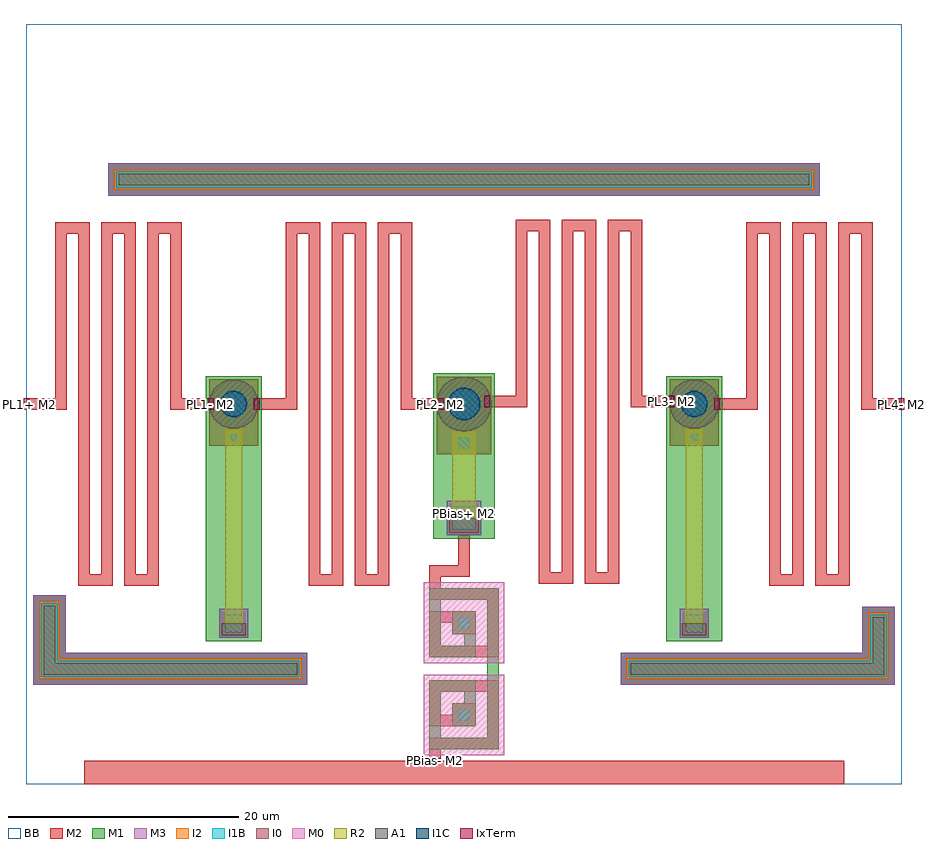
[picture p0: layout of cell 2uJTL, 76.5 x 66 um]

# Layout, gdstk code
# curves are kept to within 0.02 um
from math import pi, radians
import gdstk
lib = gdstk.Library(unit=1e-6, precision=1e-09)
def R(c, l, rs):  # rectangles x0, y0, x1, y1
    for r in rs: c.add(gdstk.rectangle(r[:2], r[2:], *l))
def P(c, l, *ps):  # polygons
    for p in ps: c.add(gdstk.Polygon(p, *l))
M1 = (1, 0)
BB = (1, 3)
I1B = (3, 0)
I1C = (4, 0)
A1 = (5, 0)
M2 = (6, 0)
I2 = (8, 0)
R2 = (9, 0)
M3 = (10, 0)
M0 = (30, 0)
I0 = (31, 0)
IxTerm = (63, 0)

jj_28 = lib.new_cell('JJ$28')
R(jj_28, M1, [(-2.429,-20.602,2.429,2.429)])
R(jj_28, I1B, [(-0.75,-19.802,0.75,-18.302), (-0.25,-3.13,0.25,-2.63)])
P(jj_28, I1B, [(0,-1.185),(-0.231,-1.162),(-0.453,-1.095),(-0.658,-0.985),(-0.838,-0.838),(-0.985,-0.658),(-1.095,-0.453),(-1.162,-0.231),(-1.185,0),(-1.162,0.231),(-1.095,0.453),(-0.985,0.658),(-0.838,0.838),(-0.658,0.985),(-0.453,1.095),(-0.231,1.162),(0,1.185),(0.231,1.162),(0.453,1.095),(0.658,0.985),(0.838,0.838),(0.985,0.658),(1.095,0.453),(1.162,0.231),(1.185,0),(1.162,-0.231),(1.095,-0.453),(0.985,-0.658),(0.838,-0.838),(0.658,-0.985),(0.453,-1.095),(0.231,-1.162)])
P(jj_28, I1C, [(0,-1.128),(-0.22,-1.107),(-0.432,-1.042),(-0.627,-0.938),(-0.798,-0.798),(-0.938,-0.627),(-1.042,-0.432),(-1.107,-0.22),(-1.128,0),(-1.107,0.22),(-1.042,0.432),(-0.938,0.627),(-0.798,0.798),(-0.627,0.938),(-0.432,1.042),(-0.22,1.107),(0,1.128),(0.22,1.107),(0.432,1.042),(0.627,0.938),(0.798,0.798),(0.938,0.627),(1.042,0.432),(1.107,0.22),(1.128,0),(1.107,-0.22),(1.042,-0.432),(0.938,-0.627),(0.798,-0.798),(0.627,-0.938),(0.432,-1.042),(0.22,-1.107)])
P(jj_28, A1, [(0,-2.13),(-0.416,-2.089),(-0.815,-1.968),(-1.183,-1.771),(-1.506,-1.506),(-1.771,-1.183),(-1.968,-0.815),(-2.089,-0.416),(-2.13,0),(-2.089,0.416),(-1.968,0.815),(-1.771,1.183),(-1.506,1.506),(-1.183,1.771),(-0.815,1.968),(-0.416,2.089),(0,2.13),(0.416,2.089),(0.815,1.968),(1.183,1.771),(1.506,1.506),(1.771,1.183),(1.968,0.815),(2.089,0.416),(2.13,0),(2.089,-0.416),(1.968,-0.815),(1.771,-1.183),(1.506,-1.506),(1.183,-1.771),(0.815,-1.968),(0.416,-2.089)])
R(jj_28, M2, [(-1.25,-20.302,1.25,-17.802), (-2.13,-3.63,2.13,-2.13), (-2.13,-2.13,2.13,2.13)])
R(jj_28, I2, [(-0.75,-19.802,0.75,-18.302)])
R(jj_28, M3, [(-1.25,-20.302,1.25,-17.802)])
R(jj_28, I0, [(-1.05,-20.102,1.05,-19.052)])
jj_28.add(gdstk.FlexPath([(0,-2.13),(0,-19.052)], 1.5, ends="flush", simple_path=True, layer=9, datatype=0))  # R2

jj_29 = lib.new_cell('JJ$29')
R(jj_29, M1, [(-2.679,-11.701,2.679,2.679)])
R(jj_29, I1B, [(-1,-10.901,1,-8.901), (-0.5,-3.88,0.5,-2.88)])
P(jj_29, I1B, [(0,-1.451),(-0.283,-1.423),(-0.555,-1.341),(-0.806,-1.207),(-1.026,-1.026),(-1.207,-0.806),(-1.341,-0.555),(-1.423,-0.283),(-1.451,0),(-1.423,0.283),(-1.341,0.555),(-1.207,0.806),(-1.026,1.026),(-0.806,1.207),(-0.555,1.341),(-0.283,1.423),(0,1.451),(0.283,1.423),(0.555,1.341),(0.806,1.207),(1.026,1.026),(1.207,0.806),(1.341,0.555),(1.423,0.283),(1.451,0),(1.423,-0.283),(1.341,-0.555),(1.207,-0.806),(1.026,-1.026),(0.806,-1.207),(0.555,-1.341),(0.283,-1.423)])
P(jj_29, I1C, [(0,-1.382),(-0.27,-1.355),(-0.529,-1.277),(-0.768,-1.149),(-0.977,-0.977),(-1.149,-0.768),(-1.277,-0.529),(-1.355,-0.27),(-1.382,0),(-1.355,0.27),(-1.277,0.529),(-1.149,0.768),(-0.977,0.977),(-0.768,1.149),(-0.529,1.277),(-0.27,1.355),(0,1.382),(0.27,1.355),(0.529,1.277),(0.768,1.149),(0.977,0.977),(1.149,0.768),(1.277,0.529),(1.355,0.27),(1.382,0),(1.355,-0.27),(1.277,-0.529),(1.149,-0.768),(0.977,-0.977),(0.768,-1.149),(0.529,-1.277),(0.27,-1.355)])
P(jj_29, A1, [(0,-2.38),(-0.464,-2.334),(-0.911,-2.199),(-1.322,-1.979),(-1.683,-1.683),(-1.979,-1.322),(-2.199,-0.911),(-2.334,-0.464),(-2.38,0),(-2.334,0.464),(-2.199,0.911),(-1.979,1.322),(-1.683,1.683),(-1.322,1.979),(-0.911,2.199),(-0.464,2.334),(0,2.38),(0.464,2.334),(0.911,2.199),(1.322,1.979),(1.683,1.683),(1.979,1.322),(2.199,0.911),(2.334,0.464),(2.38,0),(2.334,-0.464),(2.199,-0.911),(1.979,-1.322),(1.683,-1.683),(1.322,-1.979),(0.911,-2.199),(0.464,-2.334)])
R(jj_29, M2, [(-1.5,-11.401,1.5,-8.401), (-2.38,-4.38,2.38,-2.38), (-2.38,-2.38,2.38,2.38)])
R(jj_29, I2, [(-1,-10.901,1,-8.901)])
R(jj_29, M3, [(-1.5,-11.401,1.5,-8.401)])
R(jj_29, I0, [(-1.3,-11.201,1.3,-9.901)])
jj_29.add(gdstk.FlexPath([(0,-2.38),(0,-9.901)], 2, ends="flush", simple_path=True, layer=9, datatype=0))  # R2

meanderinductor_24 = lib.new_cell('MeanderInductor$24')
meanderinductor_24.add(gdstk.FlexPath([(-8,0),(-5,0),(-5,15.299),(-3,15.299),(-3,-15.299),(-1,-15.299),(-1,15.299),(1,15.299),(1,-15.299),(3,-15.299),(3,15.299),(5,15.299),(5,0),(8,0)], 1, ends="flush", simple_path=True, layer=6, datatype=0))  # M2

ak6vm21 = lib.new_cell('AK6VM21')
R(ak6vm21, M1, [(-1,-1,1,1)])
R(ak6vm21, I1B, [(-0.5,-0.5,0.5,0.5)])
R(ak6vm21, M2, [(-1,-1,1,1)])

ak6mon103 = lib.new_cell('AK6MON103')
R(ak6mon103, M0, [(-6,0.5,1,7.5)])
ak6mon103.add(gdstk.FlexPath([(0,0),(0,1.5),(-5,1.5),(-5,6.5),(0,6.5),(0,3.5),(-1,3.5),(-1.5,3.5)], 1, ends="flush", simple_path=True, layer=6, datatype=0))  # M2
ak6mon103.add(gdstk.FlexPath([(-3,5),(-3,6.5),(0,6.5),(0,1.5),(-5,1.5),(-5,8)], 1, ends="flush", simple_path=True, layer=1, datatype=0))  # M1
ak6mon103.add(gdstk.Reference(ak6vm21, (-2.5,4)))

via_m3_m0_6 = lib.new_cell('Via$M3-M0$6')
via_m3_m0_6.add(gdstk.FlexPath([(-11.199,0),(11.199,0)], 1.399, ends="flush", simple_path=True, layer=3, datatype=0))  # I1B
via_m3_m0_6.add(gdstk.FlexPath([(-11.899,0),(11.899,0)], 2.799, ends="flush", simple_path=True, layer=6, datatype=0))  # M2
via_m3_m0_6.add(gdstk.FlexPath([(-11.899,0),(11.899,0)], 2.799, ends="flush", simple_path=True, layer=1, datatype=0))  # M1
via_m3_m0_6.add(gdstk.FlexPath([(-11.399,0),(11.399,0)], 1.8, ends="flush", simple_path=True, layer=8, datatype=0))  # I2
via_m3_m0_6.add(gdstk.FlexPath([(-11.899,0),(11.899,0)], 2.799, ends="flush", simple_path=True, layer=10, datatype=0))  # M3
via_m3_m0_6.add(gdstk.FlexPath([(-11,0),(11,0)], 1, ends="flush", simple_path=True, layer=31, datatype=0))  # I0

via_m3_m0_1 = lib.new_cell('Via$M3-M0$1')
via_m3_m0_1.add(gdstk.FlexPath([(-30.2,0),(30.2,0)], 1.399, ends="flush", simple_path=True, layer=3, datatype=0))  # I1B
via_m3_m0_1.add(gdstk.FlexPath([(-30.899,0),(30.899,0)], 2.799, ends="flush", simple_path=True, layer=6, datatype=0))  # M2
via_m3_m0_1.add(gdstk.FlexPath([(-30.899,0),(30.899,0)], 2.799, ends="flush", simple_path=True, layer=1, datatype=0))  # M1
via_m3_m0_1.add(gdstk.FlexPath([(-30.399,0),(30.399,0)], 1.8, ends="flush", simple_path=True, layer=8, datatype=0))  # I2
via_m3_m0_1.add(gdstk.FlexPath([(-30.899,0),(30.899,0)], 2.799, ends="flush", simple_path=True, layer=10, datatype=0))  # M3
via_m3_m0_1.add(gdstk.FlexPath([(-30,0),(30,0)], 1, ends="flush", simple_path=True, layer=31, datatype=0))  # I0

via_m3_m0_5 = lib.new_cell('Via$M3-M0$5')
via_m3_m0_5.add(gdstk.FlexPath([(-2.7,0),(2.7,0)], 1.399, ends="flush", simple_path=True, layer=3, datatype=0))  # I1B
via_m3_m0_5.add(gdstk.FlexPath([(-3.4,0),(3.4,0)], 2.799, ends="flush", simple_path=True, layer=6, datatype=0))  # M2
via_m3_m0_5.add(gdstk.FlexPath([(-3.4,0),(3.4,0)], 2.799, ends="flush", simple_path=True, layer=1, datatype=0))  # M1
via_m3_m0_5.add(gdstk.FlexPath([(-2.9,0),(2.9,0)], 1.8, ends="flush", simple_path=True, layer=8, datatype=0))  # I2
via_m3_m0_5.add(gdstk.FlexPath([(-3.4,0),(3.4,0)], 2.799, ends="flush", simple_path=True, layer=10, datatype=0))  # M3
via_m3_m0_5.add(gdstk.FlexPath([(-2.5,0),(2.5,0)], 1, ends="flush", simple_path=True, layer=31, datatype=0))  # I0

c_2ujtl = lib.new_cell('2uJTL')
R(c_2ujtl, BB, [(-38,-33,38,33)])
c_2ujtl.add(gdstk.FlexPath([(0,-9.5),(0,-14.5),(-3,-14.5)], 1, ends="flush", simple_path=True, layer=6, datatype=0))  # M2
c_2ujtl.add(gdstk.FlexPath([(-33,-32),(33,-32)], 2, ends="flush", simple_path=True, layer=6, datatype=0))  # M2
c_2ujtl.add(gdstk.FlexPath([(-38,0.5),(-38,-0.5)], 0.5, ends="flush", simple_path=True, layer=63, datatype=0))  # IxTerm
c_2ujtl.add(gdstk.FlexPath([(-22,0.5),(-22,-0.5)], 0.5, ends="flush", simple_path=True, layer=63, datatype=0))  # IxTerm
c_2ujtl.add(gdstk.FlexPath([(-18,0.5),(-18,-0.5)], 0.5, ends="flush", simple_path=True, layer=63, datatype=0))  # IxTerm
c_2ujtl.add(gdstk.FlexPath([(-2,0.5),(-2,-0.5)], 0.5, ends="flush", simple_path=True, layer=63, datatype=0))  # IxTerm
c_2ujtl.add(gdstk.FlexPath([(2,0.701),(2,-0.299)], 0.5, ends="flush", simple_path=True, layer=63, datatype=0))  # IxTerm
c_2ujtl.add(gdstk.FlexPath([(18,0.725),(18,-0.299)], 0.5, ends="flush", simple_path=True, layer=63, datatype=0))  # IxTerm
c_2ujtl.add(gdstk.FlexPath([(22,0.5),(22,-0.5)], 0.5, ends="flush", simple_path=True, layer=63, datatype=0))  # IxTerm
c_2ujtl.add(gdstk.FlexPath([(38,0.5),(38,-0.5)], 0.5, ends="flush", simple_path=True, layer=63, datatype=0))  # IxTerm
c_2ujtl.add(gdstk.FlexPath([(-0.5,-9.5),(0.5,-9.5)], 0.5, ends="flush", simple_path=True, layer=63, datatype=0))  # IxTerm
c_2ujtl.add(gdstk.FlexPath([(-3,-31),(-2,-31)], 0.5, ends="flush", simple_path=True, layer=63, datatype=0))  # IxTerm
c_2ujtl.add(gdstk.Reference(jj_28, (20,0)))
c_2ujtl.add(gdstk.Reference(jj_29, (0,0)))
c_2ujtl.add(gdstk.Reference(meanderinductor_24, (-10,0)))
c_2ujtl.add(gdstk.Reference(meanderinductor_24, (10,0.201)))
c_2ujtl.add(gdstk.Reference(meanderinductor_24, (30,0)))
c_2ujtl.add(gdstk.Reference(meanderinductor_24, (-30,0)))
c_2ujtl.add(gdstk.Reference(ak6mon103, (-2.5,-15), rotation=pi))
c_2ujtl.add(gdstk.Reference(ak6mon103, (-2.5,-31), rotation=pi, x_reflection=True))
c_2ujtl.add(gdstk.Reference(via_m3_m0_6, (25.5,-23)))
c_2ujtl.add(gdstk.Reference(via_m3_m0_6, (-25.5,-23)))
c_2ujtl.add(gdstk.Reference(via_m3_m0_1, (0,19.5)))
c_2ujtl.add(gdstk.Reference(via_m3_m0_5, (36,-21), rotation=3*pi/2))
c_2ujtl.add(gdstk.Reference(via_m3_m0_5, (-36,-20), rotation=3*pi/2))
c_2ujtl.add(gdstk.Reference(jj_28, (-20,0)))
c_2ujtl.add(gdstk.Label('PL1+ M2', (-38,0), layer=64, texttype=0))
c_2ujtl.add(gdstk.Label('PL1- M2', (-22,0), layer=64, texttype=0))
c_2ujtl.add(gdstk.Label('PL2+ M2', (-18,0), layer=64, texttype=0))
c_2ujtl.add(gdstk.Label('PL2- M2', (-2,0), layer=64, texttype=0))
c_2ujtl.add(gdstk.Label('PL3+ M2', (2,0.201), layer=64, texttype=0))
c_2ujtl.add(gdstk.Label('PL3- M2', (18,0.201), layer=64, texttype=0))
c_2ujtl.add(gdstk.Label('PL4+ M2', (22.13,0), layer=64, texttype=0))
c_2ujtl.add(gdstk.Label('PL4- M2', (38,0), layer=64, texttype=0))
c_2ujtl.add(gdstk.Label('PBias+ M2', (0,-9.5), layer=64, texttype=0))
c_2ujtl.add(gdstk.Label('PBias- M2', (-2.5,-31), layer=64, texttype=0))

lib.write_gds('2uJTL.gds')
